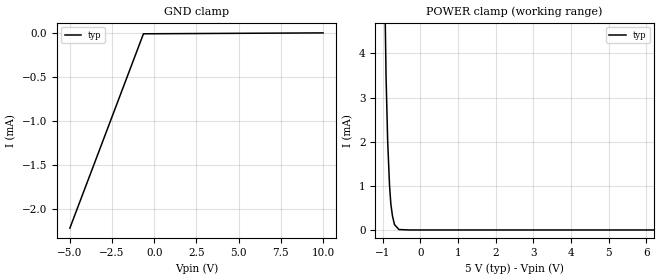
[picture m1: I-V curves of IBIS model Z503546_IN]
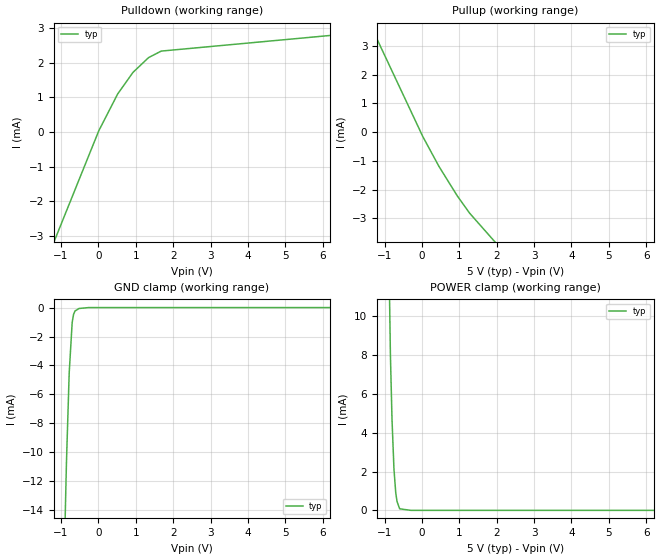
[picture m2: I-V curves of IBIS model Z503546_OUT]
| YOU ARE ONLY AUTHORIZED TO USE THIS SOFTWARE
| ACCORDING TO LICENSOR'S LICENSE RESTRICTIONS.
[IBIS Ver] 3.1
[File Name] mc14068bcl.ibs
[File Rev] 2.0
[Source] Measured and created by ICX Technology
[Date] Friday 7/14/00 9:07:52 AM
[Copyright]
| (C) COPYRIGHT 1993-2000
| MENTOR GRAPHICS CORPORATION
| ICX STANDARD LIBRARY, ICX PROJECT MODELING,
| ICX CUSTOM MODELING, ICX VENDOR MODEL
| ALL RIGHTS RESERVED.
| THE FOLLOWING ARE TRADEMARKS OR SERVICE MARKS OF
| MENTOR GRAPHICS CORPORATION:ICX (R), ICX STANDARD
| LIBRARY(R), ICX PROJECT MODELING(R), ICX CUSTOM
| MODELING(R), qualityIBIS(TM), MODELVIEWER(TM),
| AND MODELEDITOR(TM)
| ALL COPIES OF SOFTWARE, INCLUDING BUT NOT LIMITED TO
| ANY MODIFICATIONS, ENHANCEMENTS OR DERIVATIVE WORKS,
| MUST CONTAIN ALL MENTOR GRAPHICS CORPORATION'S
| NOTICES AND LEGENDS, INCLUDING THOSE EMBEDDED IN
| SOFTWARE AND THOSE AFFIXED TO SOFTWARE MEDIUM
| AND CONTAINER, AS RECEIVED FROM MENTOR GRAPHICS
| CORPORATION.
|  ZAP Model Builder 2.7
[Component] MC14068BCL
[Manufacturer] OnSemiconductor
[Package]
| variable   typ   min   max
R_pkg  .21ohms NA NA
L_pkg  4.543nH NA NA
C_pkg  1.8pF NA NA
[Pin] signal_name  model_name  R_pin  L_pin C_pin
1 NC NC .22 6.757n 2.434p
2 IN1 Z503546_IN .212 4.757n 1.941p
3 IN2 Z503546_IN .204 3.257n 1.448p
4 IN3 Z503546_IN .196 2.257n .955p
5 IN4 Z503546_IN .204 3.257n 1.448p
6 NC NC .212 4.757n 1.941p
7 VSS GND .22 6.757n 2.434p
8 NC NC .22 6.757n 2.434p
9 IN5 Z503546_IN .212 4.757n 1.941p
10 IN6 Z503546_IN .204 3.257n 1.448p
11 IN7 Z503546_IN .196 2.257n .955p
12 IN8 Z503546_IN .204 3.257n 1.448p
13 OUT Z503546_OUT .212 4.757n 1.941p
14 VDD POWER .22 6.757n 2.434p
| Models and submodels in the file (2): Z503546_IN (Input), Z503546_OUT (Output)
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| (C) COPYRIGHT 1993-2000
| MENTOR GRAPHICS CORPORATION
| ICX STANDARD LIBRARY, ICX PROJECT MODELING,
| ICX CUSTOM MODELING, ICX VENDOR MODEL
| ALL RIGHTS RESERVED.
| THE FOLLOWING ARE TRADEMARKS OR SERVICE MARKS OF
| MENTOR GRAPHICS CORPORATION:ICX (R), ICX STANDARD
| LIBRARY(R), ICX PROJECT MODELING(R), ICX CUSTOM
| MODELING(R), qualityIBIS(TM), MODELVIEWER(TM),
| AND MODELEDITOR(TM)
| ALL COPIES OF SOFTWARE, INCLUDING BUT NOT LIMITED TO
| ANY MODIFICATIONS, ENHANCEMENTS OR DERIVATIVE WORKS,
| MUST CONTAIN ALL MENTOR GRAPHICS CORPORATION'S
| NOTICES AND LEGENDS, INCLUDING THOSE EMBEDDED IN
| SOFTWARE AND THOSE AFFIXED TO SOFTWARE MEDIUM
| AND CONTAINER, AS RECEIVED FROM MENTOR GRAPHICS
| CORPORATION.
| Model Application Version 1.89 2/18/99.
[Model] Z503546_IN
Model_type Input
Vinl = 1.500V
Vinh = 3.500V
C_comp 4.000pF NA NA
| variable typ   min   max
[Voltage Range] 5.000V NA NA
[GND Clamp Reference] 0.000V NA NA
[POWER Clamp Reference] 5.000V NA NA
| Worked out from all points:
|   POWER clamp passes 1 mA (typ) near -0.82 V on its own axis
[GND Clamp]
-5V       -2.223mA   NA         NA
-640mV    -9.515uA   NA         NA
10V       731.3nA    NA         NA
[POWER Clamp]
-5V       369.5mA    NA         NA
-1.015V   9.328mA    NA         NA
-912mV    3.467mA    NA         NA
-869mV    2.002mA    NA         NA
-820mV    1.01mA     NA         NA
-785mV    589.9uA    NA         NA
-743mV    322.6uA    NA         NA
-688mV    121.6uA    NA         NA
-571mV    9.758uA    NA         NA
-285.5mV  0A         NA         NA
10V       0A         NA         NA
| (C) COPYRIGHT 1993-2000
| MENTOR GRAPHICS CORPORATION
| ICX STANDARD LIBRARY, ICX PROJECT MODELING,
| ICX CUSTOM MODELING, ICX VENDOR MODEL
| ALL RIGHTS RESERVED.
| THE FOLLOWING ARE TRADEMARKS OR SERVICE MARKS OF
| MENTOR GRAPHICS CORPORATION:ICX (R), ICX STANDARD
| LIBRARY(R), ICX PROJECT MODELING(R), ICX CUSTOM
| MODELING(R), qualityIBIS(TM), MODELVIEWER(TM),
| AND MODELEDITOR(TM)
| ALL COPIES OF SOFTWARE, INCLUDING BUT NOT LIMITED TO
| ANY MODIFICATIONS, ENHANCEMENTS OR DERIVATIVE WORKS,
| MUST CONTAIN ALL MENTOR GRAPHICS CORPORATION'S
| NOTICES AND LEGENDS, INCLUDING THOSE EMBEDDED IN
| SOFTWARE AND THOSE AFFIXED TO SOFTWARE MEDIUM
| AND CONTAINER, AS RECEIVED FROM MENTOR GRAPHICS
| CORPORATION.
| Model Application Version 1.89 2/18/99.
[Model] Z503546_OUT
Model_type Output
Vref=0.000V
Rref=500.0Mohms
Cref=50.00pF
Vmeas=2.500V
C_comp 8.000pF NA NA
| variable typ   min   max
[Voltage Range] 5.000V NA NA
[POWER Clamp Reference] 5.000V NA NA
[Pullup Reference] 5.000V NA NA
[Pulldown Reference] 0.000V NA NA
[GND Clamp Reference] 0.000V NA NA
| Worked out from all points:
|   slope of the pulldown table from 0 to 0.75 V, typ, clamps not added: 519 ohm
|   slope of the pullup table from 0 to 0.75 V, typ, clamps not added: 436 ohm
|   GND clamp passes 1 mA (typ) near -0.70 V on its own axis
|   POWER clamp passes 1 mA (typ) near -0.70 V on its own axis
[GND Clamp]
-5V       -475.1mA   NA         NA
-855mV    -10.78mA   NA         NA
-781.1mV  -4.523mA   NA         NA
-701.2mV  -1.025mA   NA         NA
-664.1mV  -468.9uA   NA         NA
-625.6mV  -235.8uA   NA         NA
-516.8mV  -62.63uA   NA         NA
-258.4mV  0A         NA         NA
10V       0A         NA         NA
[Pulldown]
-5V       -13.35mA   NA         NA
9.766mV   36.08uA    NA         NA
515.5mV   1.098mA    NA         NA
927mV     1.723mA    NA         NA
1.342V    2.146mA    NA         NA
1.68V     2.334mA    NA         NA
10V       3.163mA    NA         NA
[Pullup]
-5V       13.75mA    NA         NA
24mV      -158.5uA   NA         NA
454mV     -1.192mA   NA         NA
942mV     -2.213mA   NA         NA
1.273V    -2.817mA   NA         NA
10V       -15.68mA   NA         NA
[POWER Clamp]
-5V       537.7mA    NA         NA
-844mV    8.035mA    NA         NA
-801mV    4.698mA    NA         NA
-749mV    2.14mA     NA         NA
-701mV    902.2uA    NA         NA
-667mV    460.3uA    NA         NA
-596mV    80.9uA     NA         NA
-298mV    0A         NA         NA
10V       0A         NA         NA
[Ramp]
| variable typ min max
dV/dt_r 2.579/17.69n NA NA
dV/dt_f 2.579/15.12n NA NA
R_load = 2.500kOhms
